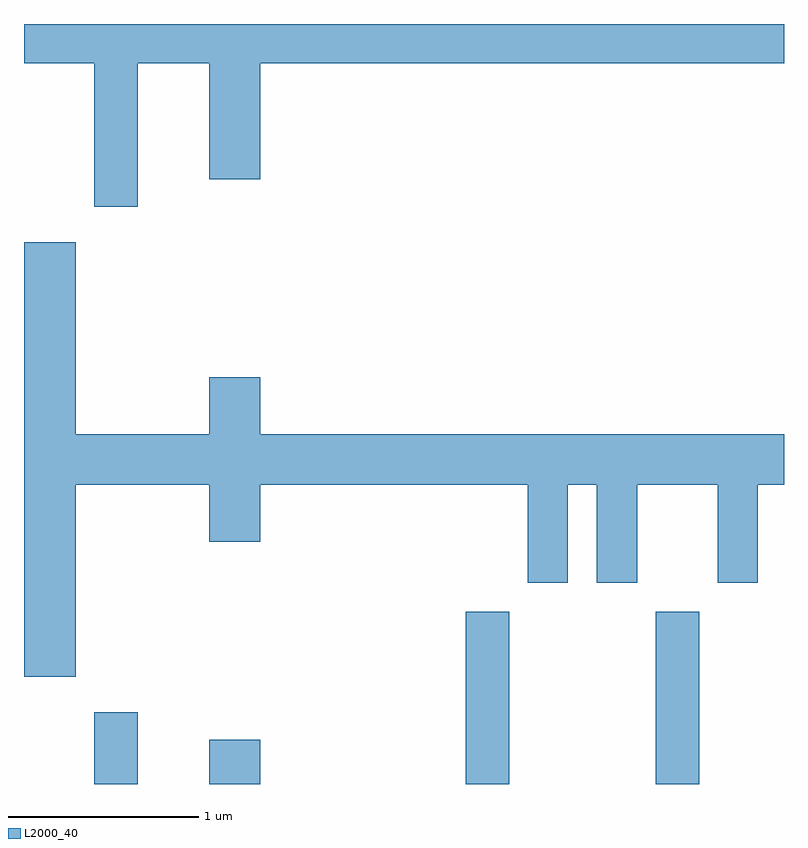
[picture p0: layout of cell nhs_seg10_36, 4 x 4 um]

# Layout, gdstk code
import gdstk
lib = gdstk.Library(unit=1e-6, precision=1e-09)
def R(c, l, rs):  # rectangles x0, y0, x1, y1
    for r in rs: c.add(gdstk.rectangle(r[:2], r[2:], *l))
def P(c, l, *ps):  # polygons
    for p in ps: c.add(gdstk.Polygon(p, *l))
L2000_40 = (2000, 40)

nhs_seg10_36 = lib.new_cell('nhs_seg10_36')
R(nhs_seg10_36, L2000_40, [(185.981,2154.522,186.209,2154.899), (186.586,2154.522,186.854,2154.754), (187.936,2154.522,188.164,2155.429), (188.936,2154.522,189.164,2155.429)])
P(nhs_seg10_36, L2000_40, [(186.209,2158.316),(186.586,2158.316),(186.586,2157.706),(186.854,2157.706),(186.854,2158.316),(189.611,2158.316),(189.611,2158.522),(185.611,2158.522),(185.611,2158.316),(185.981,2158.316),(185.981,2157.561),(186.209,2157.561)],
  [(185.884,2156.096),(186.586,2156.096),(186.586,2155.796),(186.854,2155.796),(186.854,2156.096),(188.261,2156.096),(188.261,2155.581),(188.474,2155.581),(188.474,2156.096),(188.626,2156.096),(188.626,2155.581),(188.839,2155.581),(188.839,2156.096),(189.261,2156.096),(189.261,2155.581),(189.474,2155.581),(189.474,2156.096),(189.611,2156.096),(189.611,2156.364),(186.854,2156.364),(186.854,2156.664),(186.586,2156.664),(186.586,2156.364),(185.884,2156.364),(185.884,2157.374),(185.611,2157.374),(185.611,2155.086),(185.884,2155.086)])

lib.write_gds('nhs_seg10_36.gds')
